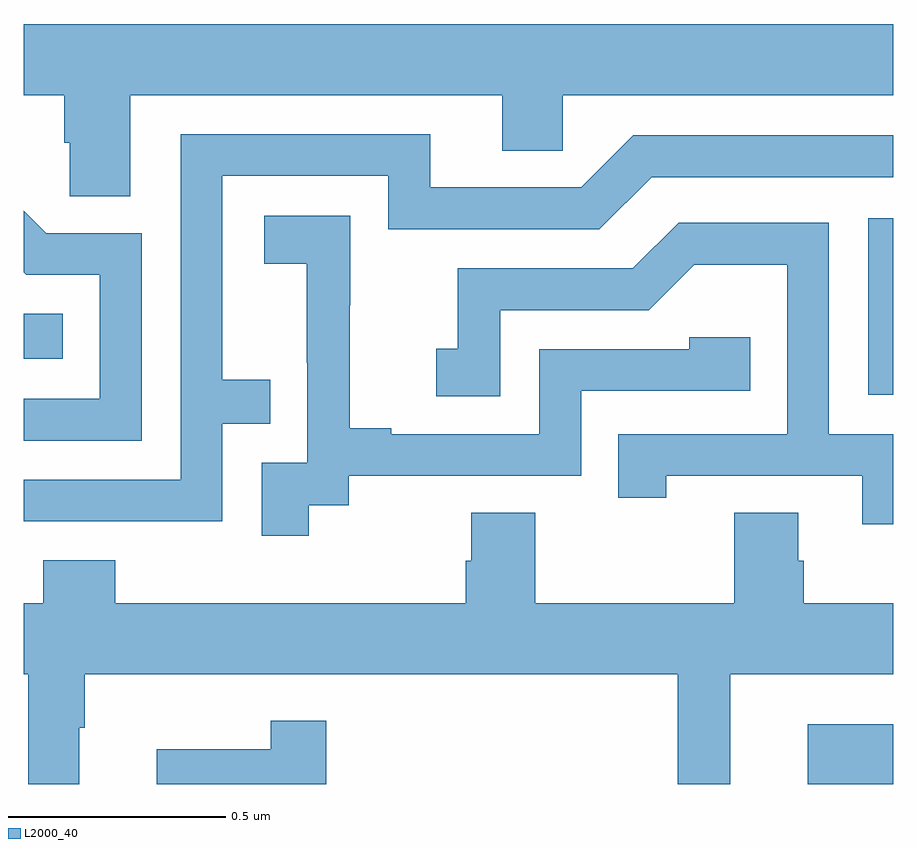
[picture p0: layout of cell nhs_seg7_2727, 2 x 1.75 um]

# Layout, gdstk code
import gdstk
lib = gdstk.Library(unit=1e-6, precision=1e-09)
def R(c, l, rs):  # rectangles x0, y0, x1, y1
    for r in rs: c.add(gdstk.rectangle(r[:2], r[2:], *l))
def P(c, l, *ps):  # polygons
    for p in ps: c.add(gdstk.Polygon(p, *l))
L2000_40 = (2000, 40)

nhs_seg7_2727 = lib.new_cell('nhs_seg7_2727')
R(nhs_seg7_2727, L2000_40, [(150.803,1031,151,1031.137), (150.942,1031.895,151,1032.301), (149,1031.978,149.09,1032.082)])
P(nhs_seg7_2727, L2000_40, [(149.245,1032.584),(150.101,1032.584),(150.101,1032.457),(150.24,1032.457),(150.24,1032.584),(151,1032.584),(151,1032.748),(149,1032.748),(149,1032.584),(149.093,1032.584),(149.093,1032.475),(149.106,1032.475),(149.106,1032.352),(149.245,1032.352)],
  [(149.457,1031.829),(149.567,1031.829),(149.567,1031.93),(149.457,1031.93),(149.457,1032.399),(149.838,1032.399),(149.838,1032.276),(150.324,1032.276),(150.444,1032.396),(151,1032.396),(151,1032.492),(150.402,1032.492),(150.282,1032.372),(149.935,1032.372),(149.935,1032.495),(149.361,1032.495),(149.361,1031.7),(149,1031.7),(149,1031.604),(149.457,1031.604)],
  [(149.271,1032.267),(149.052,1032.267),(149,1032.319),(149,1032.177),(149.006,1032.171),(149.175,1032.171),(149.175,1031.886),(149,1031.886),(149,1031.79),(149.271,1031.79)],
  [(149.656,1031.641),(149.748,1031.641),(149.748,1031.709),(150.282,1031.709),(150.282,1031.904),(150.671,1031.904),(150.671,1032.027),(150.531,1032.027),(150.531,1032),(150.186,1032),(150.186,1031.805),(149.845,1031.805),(149.845,1031.818),(149.75,1031.818),(149.75,1032.101),(149.751,1032.101),(149.751,1032.307),(149.553,1032.307),(149.553,1032.197),(149.651,1032.197),(149.651,1031.969),(149.652,1031.969),(149.652,1031.739),(149.547,1031.739),(149.547,1031.571),(149.656,1031.571)],
  [(151,1031.805),(150.852,1031.805),(150.852,1032.291),(150.506,1032.291),(150.401,1032.186),(149.998,1032.186),(149.998,1032.001),(149.949,1032.001),(149.949,1031.892),(150.096,1031.892),(150.096,1032.09),(150.438,1032.09),(150.542,1032.194),(150.756,1032.194),(150.756,1031.805),(150.367,1031.805),(150.367,1031.658),(150.478,1031.658),(150.478,1031.709),(150.929,1031.709),(150.929,1031.598),(151,1031.598)],
  [(149.128,1031.129),(149.14,1031.129),(149.14,1031.252),(150.504,1031.252),(150.504,1031),(150.625,1031),(150.625,1031.252),(151,1031.252),(151,1031.416),(150.794,1031.416),(150.794,1031.514),(150.781,1031.514),(150.781,1031.624),(150.634,1031.624),(150.634,1031.416),(150.177,1031.416),(150.177,1031.624),(150.029,1031.624),(150.029,1031.514),(150.017,1031.514),(150.017,1031.416),(149.21,1031.416),(149.21,1031.515),(149.045,1031.515),(149.045,1031.416),(149,1031.416),(149,1031.252),(149.011,1031.252),(149.011,1031),(149.128,1031)],
  [(149.696,1031.146),(149.568,1031.146),(149.568,1031.08),(149.306,1031.08),(149.306,1031),(149.696,1031)])

lib.write_gds('nhs_seg7_2727.gds')
